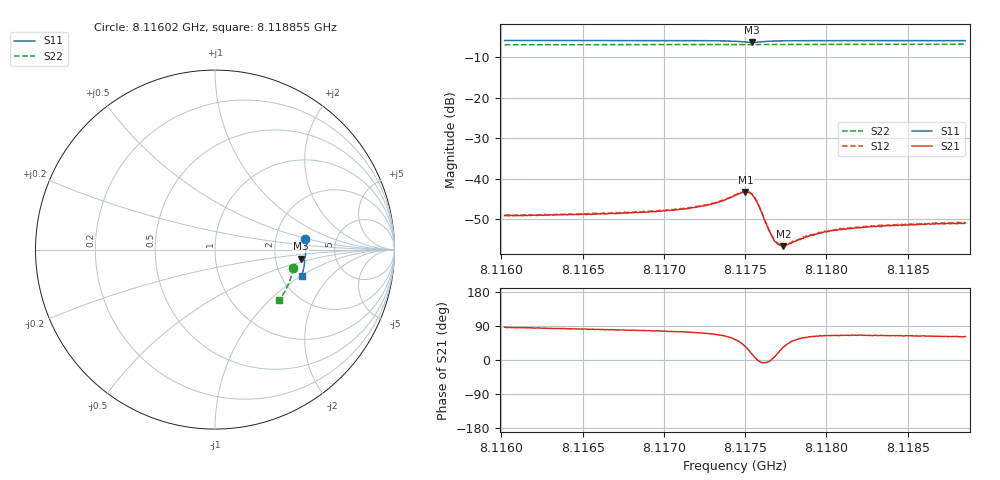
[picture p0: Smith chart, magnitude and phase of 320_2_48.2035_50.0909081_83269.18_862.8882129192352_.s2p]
#  HZ  S  RI  R  50.00
! Rohde & Schwarz Vector Network Analyzer
! Rohde-Schwarz,ZNB20-2Port,1311601062101988,3.16
! Created: UTC 3/20/2024, 11:50:21 AM
! freq[Hz]  re:S11  im:S11  re:S21  im:S21  re:S12  im:S12  re:S22  im:S22
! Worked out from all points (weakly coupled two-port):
!   401 points, 8.11602 GHz to 8.118855 GHz, reference 50 ohm
!   highest |S21| = -43.24 dB at 8.117501 GHz (marker M1); lowest = -56.6 dB at 8.117735 GHz (marker M2)
!   lowest |S11| = -6.4 dB at 8.117544 GHz (marker M3), VSWR 2.85, Z = 140 - j18.6 ohm
!   |S11| at or under -10 dB: nowhere
!   |S22| runs from -7.0 to -6.8 dB; largest |S21 - S12| = 0.00018
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8.1160197e9  0.5041 0.0567  0.000225 0.0035  0.000312 0.00354  0.4365 -0.1027
8.1164946e9  0.5062 0.021  0.000528 0.00361  0.000616 0.00366  0.4292 -0.1349
8.1169695e9  0.5056 -0.0156  0.000912 0.00385  0.00098 0.0039  0.4194 -0.1663
8.1171397e9  0.5041 -0.0295  0.00119 0.0041  0.00127 0.00416  0.4151 -0.1776
8.1172602e9  0.5023 -0.0402  0.00159 0.00441  0.00166 0.00447  0.412 -0.1854
8.1173523e9  0.4993 -0.0489  0.0022 0.00478  0.00231 0.00486  0.4096 -0.1915
8.1174374e9  0.4927 -0.0573  0.00361 0.00506  0.00373 0.0051  0.4068 -0.1969
8.1175012e9  0.4822 -0.0586  0.00562 0.00398  0.00577 0.00402  0.4046 -0.2007
8.1175224e9  0.4791 -0.0555  0.00615 0.00289  0.00629 0.00291  0.4039 -0.2019
8.1175437e9  0.4781 -0.0512  0.00613 0.00155  0.00625 0.00152  0.4033 -0.2028
8.1175579e9  0.4791 -0.0481  0.00575 0.000773  0.00585 0.000712  0.4032 -0.2036
8.1175791e9  0.4826 -0.0452  0.00486 -0.000114  0.00491 -0.000119  0.4027 -0.2048
8.11765e9  0.4939 -0.0484  0.00223 -0.000117  0.00226 -0.000145  0.4011 -0.2093
8.1176713e9  0.4957 -0.0509  0.00184 0.000145  0.00187 0.000156  0.4005 -0.2106
8.1176996e9  0.4972 -0.0543  0.00149 0.000472  0.00154 0.000484  0.3998 -0.2125
8.1177351e9  0.4983 -0.0583  0.00121 0.000834  0.00129 0.000815  0.3988 -0.2148
8.1178627e9  0.4989 -0.0711  0.000984 0.0016  0.000994 0.00161  0.3948 -0.2229
8.1179123e9  0.4987 -0.0754  0.000941 0.00179  0.000977 0.00179  0.3933 -0.2263
8.1179832e9  0.4979 -0.0814  0.000961 0.00198  0.00101 0.00205  0.3909 -0.2305
8.1180966e9  0.4966 -0.0905  0.00101 0.00215  0.00103 0.00219  0.3872 -0.2376
8.1183872e9  0.492 -0.1126  0.00114 0.00236  0.00114 0.00243  0.3767 -0.2553
8.118855e9  0.4826 -0.1468  0.00134 0.0025  0.00137 0.00255  0.3585 -0.2826
